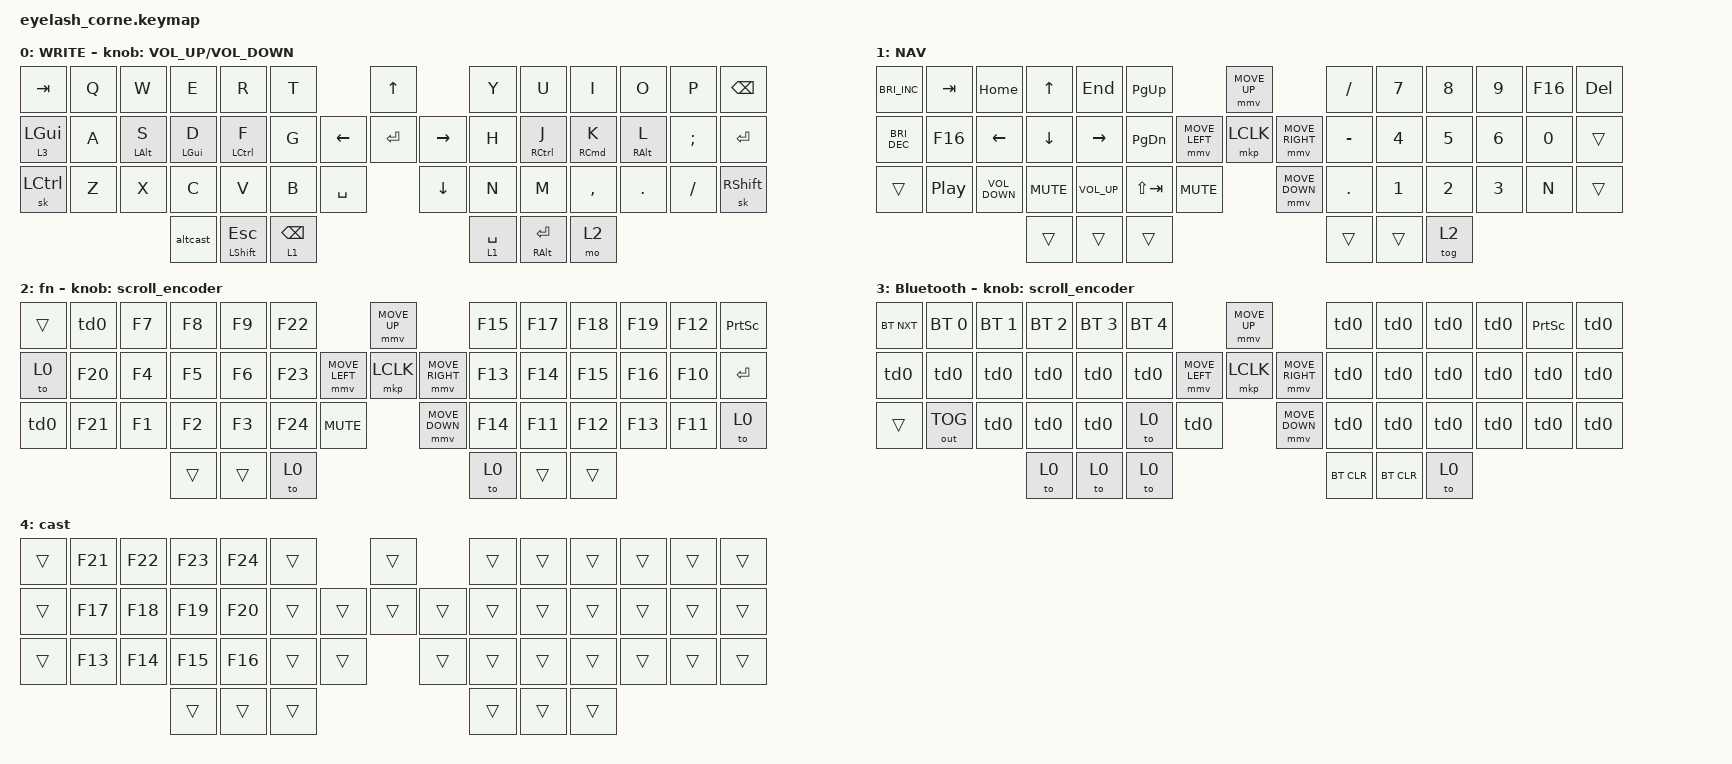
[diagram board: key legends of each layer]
#define ZMK_POINTING_DEFAULT_MOVE_VAL 1200  // 600
#define ZMK_POINTING_DEFAULT_SCRL_VAL 25   // 10

#include <input/processors.dtsi>
#include <zephyr/dt-bindings/input/input-event-codes.h>
#include <behaviors.dtsi>
#include <dt-bindings/zmk/bt.h>
#include <dt-bindings/zmk/keys.h>
#include <dt-bindings/zmk/outputs.h>
#include <dt-bindings/zmk/pointing.h>
#include <dt-bindings/zmk/rgb.h>

&mmv_input_listener { input-processors = <&zip_xy_scaler 2 1>; };

&msc_input_listener { input-processors = <&zip_scroll_scaler 2 1>; };

&msc {
    acceleration-exponent = <1>;      // 0
    time-to-max-speed-ms = <100>;       // 300
    delay-ms = <0>;                   // 0
};

&mmv {
    time-to-max-speed-ms = <500>;
    acceleration-exponent = <1>;
    trigger-period-ms = <16>;
};

/ {
    behaviors {
        td0: td0 {
            compatible = "zmk,behavior-tap-dance";
            display-name = "Shift/Caps Lock Tap Dance";
            #binding-cells = <0>;
            bindings = <&kp LEFT_SHIFT>, <&kp CAPS>;
        };

        altcast: altcast {
            compatible = "zmk,behavior-tap-dance";
            label = "ALTCAST";
            #binding-cells = <0>;
            bindings = <&kp LEFT_ALT>, <&sl 4>;
        };

        holdTapPref: holdTapPref {
            compatible = "zmk,behavior-hold-tap";
            label = "HOLDTAPPREF";
            bindings = <&kp>, <&kp>;

            #binding-cells = <2>;
            flavor = "tap-preferred";
            tapping-term-ms = <200>;
            require-prior-idle-ms = <200>;
        };

        morphCaps: morphCaps {
            compatible = "zmk,behavior-mod-morph";
            label = "MORPHCAPS";
            bindings = <&sk RIGHT_SHIFT>, <&caps_word>;

            #binding-cells = <0>;
            mods = <(MOD_RALT|MOD_LALT)>;
        };

        morphcapL: morphcapL {
            compatible = "zmk,behavior-mod-morph";
            label = "MORPHCAPL";
            bindings = <&sk LEFT_SHIFT>, <&caps_word>;

            #binding-cells = <0>;
            mods = <(MOD_LCTL|MOD_RCTL)>;
        };

        holdTapThumb: holdTapThumb {
            compatible = "zmk,behavior-hold-tap";
            label = "HOLDTAPTHUMB";
            bindings = <&mo>, <&kp>;

            #binding-cells = <2>;
            tapping-term-ms = <180>;
            flavor = "balanced";
            require-prior-idle-ms = <150>;
        };

        ThumbSide: ThumbSide {
            compatible = "zmk,behavior-hold-tap";
            label = "THUMBSIDE";
            bindings = <&kp>, <&kp>;

            #binding-cells = <2>;
            tapping-term-ms = <180>;
            flavor = "hold-preferred";
        };

        SysAccess: SysAccess {
            compatible = "zmk,behavior-hold-tap";
            label = "SYSACCESS";
            bindings = <&mo>, <&kp>;

            #binding-cells = <2>;
            flavor = "tap-preferred";
            tapping-term-ms = <5000>;
            require-prior-idle-ms = <1000>;
        };
    };

    rgb_encoder: rgb_encoder {
        compatible = "zmk,behavior-sensor-rotate";
        #sensor-binding-cells = <0>;
        bindings = <&rgb_ug RGB_BRI>, <&rgb_ug RGB_BRD>;
    };

    scroll_encoder: scroll_encoder {
        compatible = "zmk,behavior-sensor-rotate";
        #sensor-binding-cells = <0>;
        bindings = <&msc SCRL_DOWN>, <&msc SCRL_UP>;

        tap-ms = <100>;
    };

    combos {
        compatible = "zmk,combos";

        SoftOff {
            bindings = <&soft_off>;
            key-positions = <4 13 33>;
        };

        mouseless {
            bindings = <&kp F15>;
            key-positions = <44 45>;
        };
    };

    keymap {
        compatible = "zmk,keymap";

        default_layer {
            display-name = "WRITE";
            bindings = <
&kp TAB                &kp Q  &kp W                    &kp E                    &kp R                         &kp T                                             &kp UP                &kp Y                  &kp U                         &kp I                         &kp O                     &kp P     &kp BSPC
&SysAccess 3 LEFT_GUI  &kp A  &holdTapPref LEFT_ALT S  &holdTapPref LEFT_GUI D  &holdTapPref LEFT_CONTROL F   &kp G                                   &kp LEFT  &kp ENTER  &kp RIGHT  &kp H                  &holdTapPref RIGHT_CONTROL J  &holdTapPref RIGHT_COMMAND K  &holdTapPref RIGHT_ALT L  &kp SEMI  &kp ENTER
&sk LEFT_CONTROL       &kp Z  &kp X                    &kp C                    &kp V                         &kp B                      &kp SPACE              &kp DOWN              &kp N                  &kp M                         &kp COMMA                     &kp DOT                   &kp FSLH  &sk RIGHT_SHIFT
                                                       &altcast                 &ThumbSide LEFT_SHIFT ESCAPE  &holdTapThumb 1 BACKSPACE                                               &holdTapThumb 1 SPACE  &ThumbSide RIGHT_ALT ENTER    &mo 2
            >;

            sensor-bindings = <&inc_dec_kp C_VOLUME_UP C_VOLUME_DOWN>;
        };

        Navigation {
            display-name = "NAV";
            bindings = <
&kp C_BRIGHTNESS_INC  &kp TAB           &kp HOME           &kp UP_ARROW    &kp END          &kp PG_UP                                    &mmv MOVE_UP                     &kp SLASH   &kp N7        &kp N8        &kp N9        &kp F16  &kp DELETE
&kp C_BRIGHTNESS_DEC  &kp F16           &kp LEFT           &kp DOWN_ARROW  &kp RIGHT        &kp PAGE_DOWN                &mmv MOVE_LEFT  &mkp LCLK       &mmv MOVE_RIGHT  &kp MINUS   &kp NUMBER_4  &kp N5        &kp NUMBER_6  &kp N0   &trans
&trans                &kp C_PLAY_PAUSE  &kp C_VOLUME_DOWN  &kp K_MUTE      &kp C_VOLUME_UP  &kp LS(TAB)    &kp C_MUTE                    &mmv MOVE_DOWN                   &kp PERIOD  &kp N1        &kp NUMBER_2  &kp NUMBER_3  &kp N    &trans
                                                           &trans          &trans           &trans                                                                        &trans      &trans        &tog 2
            >;
        };

        Function {
            display-name = "fn";
            bindings = <
&trans  &td0     &kp F7  &kp F8  &kp F9  &kp F22                                &mmv MOVE_UP                     &kp F15  &kp F17  &kp F18  &kp F19  &kp F12  &kp PRINTSCREEN
&to 0   &kp F20  &kp F4  &kp F5  &kp F6  &kp F23                &mmv MOVE_LEFT  &mkp LCLK       &mmv MOVE_RIGHT  &kp F13  &kp F14  &kp F15  &kp F16  &kp F10  &kp ENTER
&td0    &kp F21  &kp F1  &kp F2  &kp F3  &kp F24  &kp C_MUTE                    &mmv MOVE_DOWN                   &kp F14  &kp F11  &kp F12  &kp F13  &kp F11  &to 0
                         &trans  &trans  &to 0                                                                   &to 0    &trans   &trans
            >;

            sensor-bindings = <&scroll_encoder>;
        };

        system {
            display-name = "Bluetooth";
            bindings = <
&bt BT_NXT  &bt BT_SEL 0  &bt BT_SEL 1  &bt BT_SEL 2  &bt BT_SEL 3  &bt BT_SEL 4                          &mmv MOVE_UP                     &td0        &td0        &td0   &td0  &kp PRINTSCREEN  &td0
&td0        &td0          &td0          &td0          &td0          &td0                  &mmv MOVE_LEFT  &mkp LCLK       &mmv MOVE_RIGHT  &td0        &td0        &td0   &td0  &td0             &td0
&trans      &out OUT_TOG  &td0          &td0          &td0          &to 0         &td0                    &mmv MOVE_DOWN                   &td0        &td0        &td0   &td0  &td0             &td0
                                        &to 0         &to 0         &to 0                                                                  &bt BT_CLR  &bt BT_CLR  &to 0
            >;

            sensor-bindings = <&scroll_encoder>;
        };

        cast {
            bindings = <
&trans  &kp F21  &kp F22  &kp F23  &kp F24  &trans                    &trans          &trans  &trans  &trans  &trans  &trans  &trans
&trans  &kp F17  &kp F18  &kp F19  &kp F20  &trans            &trans  &trans  &trans  &trans  &trans  &trans  &trans  &trans  &trans
&trans  &kp F13  &kp F14  &kp F15  &kp F16  &trans  &trans            &trans          &trans  &trans  &trans  &trans  &trans  &trans
                          &trans   &trans   &trans                                    &trans  &trans  &trans
            >;

            label = "cast";
        };
    };
};
